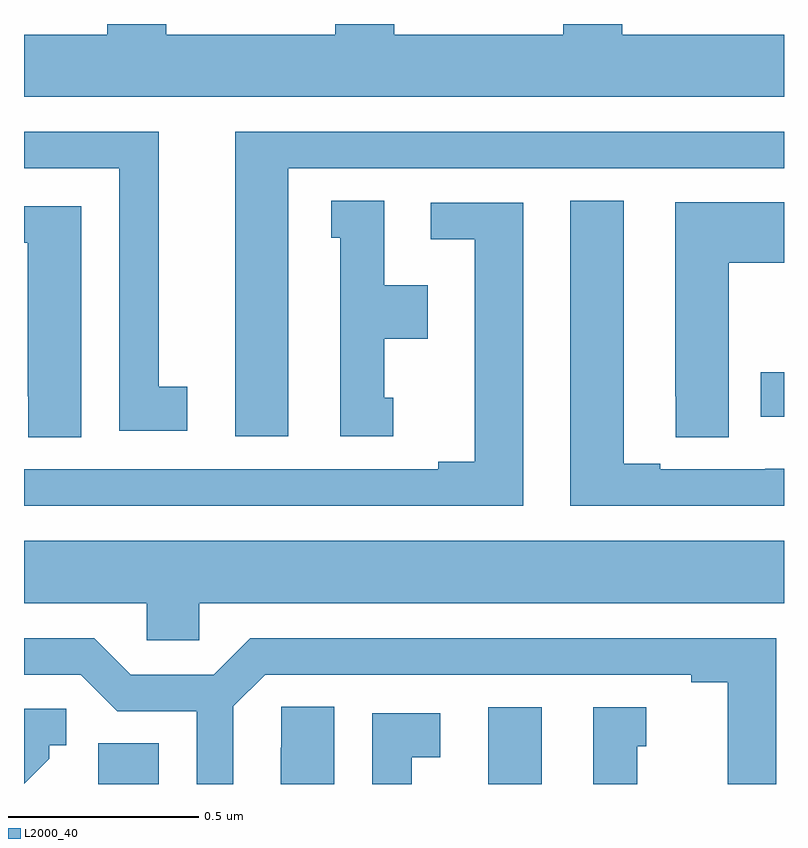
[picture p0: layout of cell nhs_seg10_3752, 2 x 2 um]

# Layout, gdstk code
import gdstk
lib = gdstk.Library(unit=1e-6, precision=1e-09)
def R(c, l, rs):  # rectangles x0, y0, x1, y1
    for r in rs: c.add(gdstk.rectangle(r[:2], r[2:], *l))
def P(c, l, *ps):  # polygons
    for p in ps: c.add(gdstk.Polygon(p, *l))
L2000_40 = (2000, 40)

nhs_seg10_3752 = lib.new_cell('nhs_seg10_3752')
R(nhs_seg10_3752, L2000_40, [(157.196,1306.5,157.354,1306.607), (158.222,1306.5,158.362,1306.702), (158.939,1307.466,159,1307.583)])
P(nhs_seg10_3752, L2000_40, [(159,1308.472),(158.574,1308.472),(158.574,1308.5),(158.419,1308.5),(158.419,1308.472),(157.974,1308.472),(157.974,1308.5),(157.819,1308.5),(157.819,1308.472),(157.374,1308.472),(157.374,1308.5),(157.219,1308.5),(157.219,1308.472),(157,1308.472),(157,1308.308),(159,1308.308)],
  [(157.696,1308.12),(159,1308.12),(159,1308.216),(157.556,1308.216),(157.556,1307.415),(157.696,1307.415)],
  [(157.429,1307.546),(157.354,1307.546),(157.354,1308.216),(157,1308.216),(157,1308.12),(157.25,1308.12),(157.25,1307.43),(157.429,1307.43)],
  [(157.972,1307.517),(157.948,1307.517),(157.948,1307.672),(158.062,1307.672),(158.062,1307.812),(157.948,1307.812),(157.948,1308.035),(157.808,1308.035),(157.808,1307.937),(157.832,1307.937),(157.832,1307.415),(157.972,1307.415)],
  [(159,1307.329),(158.95,1307.329),(158.95,1307.328),(158.674,1307.328),(158.674,1307.343),(158.578,1307.343),(158.578,1308.035),(158.438,1308.035),(158.438,1307.232),(159,1307.232)],
  [(158.854,1307.872),(159,1307.872),(159,1308.031),(158.714,1308.031),(158.714,1307.521),(158.715,1307.521),(158.715,1307.413),(158.854,1307.413)],
  [(158.314,1308.03),(158.07,1308.03),(158.07,1307.934),(158.186,1307.934),(158.186,1307.348),(158.09,1307.348),(158.09,1307.328),(157,1307.328),(157,1307.232),(158.314,1307.232)],
  [(157.15,1308.021),(157,1308.021),(157,1307.924),(157.01,1307.924),(157.01,1307.521),(157.011,1307.521),(157.011,1307.413),(157.15,1307.413)],
  [(157.461,1306.976),(159,1306.976),(159,1307.14),(157,1307.14),(157,1306.976),(157.323,1306.976),(157.323,1306.878),(157.461,1306.878)],
  [(157.551,1306.704),(157.635,1306.788),(158.756,1306.788),(158.756,1306.768),(158.852,1306.768),(158.852,1306.5),(158.98,1306.5),(158.98,1306.884),(157.595,1306.884),(157.499,1306.788),(157.281,1306.788),(157.185,1306.884),(157,1306.884),(157,1306.788),(157.149,1306.788),(157.245,1306.692),(157.455,1306.692),(157.455,1306.5),(157.551,1306.5)],
  [(157.816,1306.703),(157.677,1306.703),(157.677,1306.595),(157.676,1306.595),(157.676,1306.5),(157.816,1306.5)],
  [(158.614,1306.599),(158.638,1306.599),(158.638,1306.702),(158.498,1306.702),(158.498,1306.5),(158.614,1306.5)],
  [(157.066,1306.567),(157.066,1306.602),(157.111,1306.602),(157.111,1306.698),(157,1306.698),(157,1306.501)],
  [(158.02,1306.57),(158.095,1306.57),(158.095,1306.686),(157.916,1306.686),(157.916,1306.5),(158.02,1306.5)])

lib.write_gds('nhs_seg10_3752.gds')
